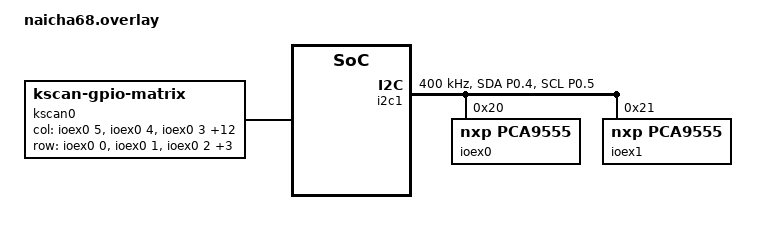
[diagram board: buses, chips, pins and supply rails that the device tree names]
&i2c1 {
    status = "okay";
    compatible = "nordic,nrf-twim";
    pinctrl-0 = <&i2c0_default>;
    pinctrl-1 = <&i2c0_sleep>;
    pinctrl-names = "default", "sleep";
    clock-frequency = <I2C_BITRATE_FAST>;

    ioex0: pca9555@20 {
        compatible = "nxp,pca9555";
        reg = <0x20>;
        gpio-controller;
        #gpio-cells = <2>;
        ngpios = <16>;
    };

    ioex1: pca9555@21 {
        compatible = "nxp,pca9555";
        reg = <0x21>;
        gpio-controller;
        #gpio-cells = <2>;
        ngpios = <16>;
    };
};

&pinctrl {
    i2c0_default: i2c0_default {
        group1 {
            psels = <NRF_PSEL(TWIM_SDA, 0, 4)>,
                <NRF_PSEL(TWIM_SCL, 0, 5)>;
        };
    };

    i2c0_sleep: i2c0_sleep {
        group1 {
            psels = <NRF_PSEL(TWIM_SDA, 0, 4)>,
                <NRF_PSEL(TWIM_SCL, 0, 5)>;
            low-power-enable;
        };
    };
};

/ {
    chosen {
        zmk,kscan = &kscan0;
    };

    kscan0: kscan_0 {
        compatible = "zmk,kscan-gpio-matrix";
        wakeup-source;
        diode-direction = "col2row";
        poll-period-ms = <5>;

        col-gpios
            = <&ioex0 5 GPIO_ACTIVE_HIGH>  /* Col  0 → EXP1 P00 */
            , <&ioex0 4 GPIO_ACTIVE_HIGH>  /* Col  1 → EXP1 P01 */
            , <&ioex0 3 GPIO_ACTIVE_HIGH>  /* Col  2 → EXP1 P02 */
            , <&ioex0 2 GPIO_ACTIVE_HIGH>  /* Col  3 → EXP1 P03 */
            , <&ioex0 1 GPIO_ACTIVE_HIGH>  /* Col  4 → EXP1 P04 */
            , <&ioex0 0 GPIO_ACTIVE_HIGH>  /* Col  5 → EXP1 P05 */
            , <&ioex0 7 GPIO_ACTIVE_HIGH>  /* Col  6 → EXP1 P06 */
            , <&ioex0 6 GPIO_ACTIVE_HIGH>  /* Col  7 → EXP1 P07 */
            , <&ioex0 13 GPIO_ACTIVE_HIGH> /* Col  8 → EXP1 P08 */
            , <&ioex0 12 GPIO_ACTIVE_HIGH> /* Col  9 → EXP1 P09 */
            , <&ioex0 11 GPIO_ACTIVE_HIGH> /* Col 10 → EXP1 P10 */
            , <&ioex0 10 GPIO_ACTIVE_HIGH> /* Col 11 → EXP1 P11 */
            , <&ioex0 9 GPIO_ACTIVE_HIGH>  /* Col 12 → EXP1 P12 */
            , <&ioex0 8 GPIO_ACTIVE_HIGH>  /* Col 13 → EXP1 P13 */
            , <&ioex0 15 GPIO_ACTIVE_HIGH> /* Col 14 → EXP1 P14 */
            ;

        row-gpios
            = <&ioex0 0 (GPIO_ACTIVE_HIGH | GPIO_PULL_DOWN)>  /* Row 0 → EXP0 P00 */
            , <&ioex0 1 (GPIO_ACTIVE_HIGH | GPIO_PULL_DOWN)>  /* Row 1 → EXP0 P01 */
            , <&ioex0 2 (GPIO_ACTIVE_HIGH | GPIO_PULL_DOWN)>  /* Row 2 → EXP0 P02 */
            , <&ioex0 3 (GPIO_ACTIVE_HIGH | GPIO_PULL_DOWN)>  /* Row 3 → EXP0 P03 */
            , <&ioex0 4 (GPIO_ACTIVE_HIGH | GPIO_PULL_DOWN)>  /* Row 4 → EXP0 P04 */
            , <&ioex0 5 (GPIO_ACTIVE_HIGH | GPIO_PULL_DOWN)>  /* Row 5 → EXP0 P05 */
            ;
    };
};
